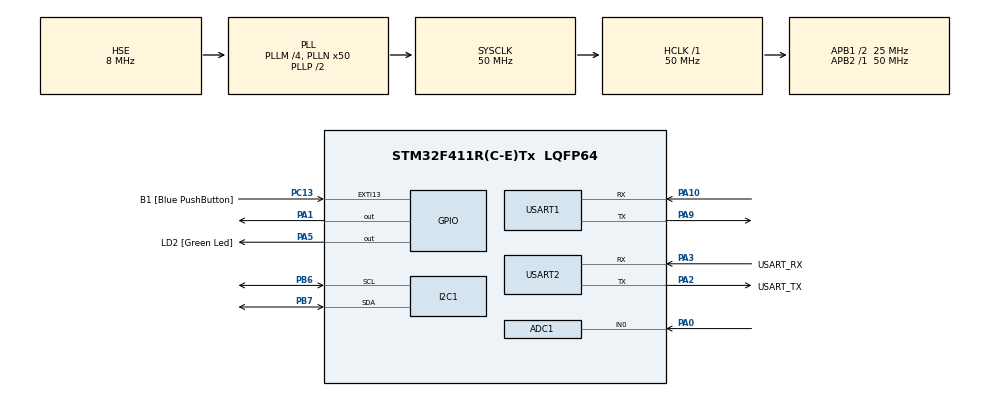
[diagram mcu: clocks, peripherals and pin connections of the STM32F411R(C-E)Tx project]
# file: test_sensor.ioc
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ADC1.Channel-0\#ChannelRegularConversion=ADC_CHANNEL_0
ADC1.ContinuousConvMode=ENABLE
ADC1.NbrOfConversionFlag=1
ADC1.Rank-0\#ChannelRegularConversion=1
ADC1.SamplingTime-0\#ChannelRegularConversion=ADC_SAMPLETIME_3CYCLES
ADC1.master=1
Mcu.Family=STM32F4
Mcu.Name=STM32F411R(C-E)Tx
Mcu.Package=LQFP64
NVIC.PriorityGroup=NVIC_PRIORITYGROUP_0
NVIC.USART1_IRQn=true\:0\:0\:false\:false\:true\:true\:true\:true
PA0-WKUP.Signal=ADCx_IN0
PA1.Signal=GPIO_Output
PA10.Mode=Asynchronous
PA10.Signal=USART1_RX
PA13.GPIO_Label=TMS
PA13.Mode=Serial_Wire
PA13.Signal=SYS_JTMS-SWDIO
PA14.GPIO_Label=TCK
PA14.Mode=Serial_Wire
PA14.Signal=SYS_JTCK-SWCLK
PA2.GPIO_Label=USART_TX
PA2.Mode=Asynchronous
PA2.Signal=USART2_TX
PA3.GPIO_Label=USART_RX
PA3.Mode=Asynchronous
PA3.Signal=USART2_RX
PA5.GPIO_Label=LD2 [Green Led]
PA5.Signal=GPIO_Output
PA9.Mode=Asynchronous
PA9.Signal=USART1_TX
PB3.GPIO_Label=SWO
PB3.Signal=SYS_JTDO-SWO
PB6.Mode=I2C
PB6.Signal=I2C1_SCL
PB7.Mode=I2C
PB7.Signal=I2C1_SDA
PC13-ANTI_TAMP.GPIO_Label=B1 [Blue PushButton]
PC13-ANTI_TAMP.GPIO_ModeDefaultEXTI=GPIO_MODE_IT_FALLING
PC13-ANTI_TAMP.Signal=GPXTI13
PC14-OSC32_IN.Signal=RCC_OSC32_IN
PC15-OSC32_OUT.Signal=RCC_OSC32_OUT
PH0\ -\ OSC_IN.Mode=HSE-External-Oscillator
PH0\ -\ OSC_IN.Signal=RCC_OSC_IN
PH1\ -\ OSC_OUT.Mode=HSE-External-Oscillator
PH1\ -\ OSC_OUT.Signal=RCC_OSC_OUT
ProjectManager.HeapSize=0x200
ProjectManager.StackSize=0x400
ProjectManager.TargetToolchain=STM32CubeIDE
RCC.48MHZClocksFreq_Value=25000000
RCC.AHBFreq_Value=50000000
RCC.APB1CLKDivider=RCC_HCLK_DIV2
RCC.APB1Freq_Value=25000000
RCC.APB1TimFreq_Value=50000000
RCC.APB2Freq_Value=50000000
RCC.APB2TimFreq_Value=50000000
RCC.CortexFreq_Value=50000000
RCC.FLatency-AdvancedSettings=FLASH_LATENCY_1
RCC.HCLKFreq_Value=50000000
RCC.HSE_VALUE=8000000
RCC.HSI_VALUE=16000000
RCC.LSE_VALUE=32768
RCC.PLLM=4
RCC.PLLN=50
RCC.PLLSourceVirtual=RCC_PLLSOURCE_HSE
RCC.SYSCLKFreq_VALUE=50000000
RCC.SYSCLKSource=RCC_SYSCLKSOURCE_PLLCLK
RCC.VCOOutputFreq_Value=100000000
SH.ADCx_IN0.0=ADC1_IN0,IN0
TIM1.Prescaler=50-1
USART1.VirtualMode=VM_ASYNC
USART2.VirtualMode=VM_ASYNC
VP_TIM1_VS_ClockSourceINT.Mode=Internal
board=NUCLEO-F411RE

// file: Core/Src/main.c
/* USER CODE BEGIN Header */
/**
  ******************************************************************************
  * @file           : main.c
  * @brief          : Main program body
  ******************************************************************************
  * @attention
  *
  * Copyright (c) 2023 STMicroelectronics.
  * All rights reserved.
  *
  * This software is licensed under terms that can be found in the LICENSE file
  * in the root directory of this software component.
  * If no LICENSE file comes with this software, it is provided AS-IS.
  *
  ******************************************************************************
  */
/* USER CODE END Header */
#include "main.h"

/* USER CODE BEGIN Includes */
#include "DHT.h"
#include "bh1750.h"
/* USER CODE END Includes */

ADC_HandleTypeDef hadc1;

I2C_HandleTypeDef hi2c1;

TIM_HandleTypeDef htim1;

UART_HandleTypeDef huart1;
UART_HandleTypeDef huart2;

void SystemClock_Config(void);
static void MX_GPIO_Init(void);
static void MX_USART2_UART_Init(void);
static void MX_TIM1_Init(void);
static void MX_I2C1_Init(void);
static void MX_ADC1_Init(void);
static void MX_USART1_UART_Init(void);

/* USER CODE BEGIN 0 */
DHT_DataTypedef DHT11_Data;
uint16_t Temperature, Humidity;
BH1750_device_t* LightSensor;

int t,m,l;

char send_temp[30];
void Read_Temperature(){
	DHT_GetData(&DHT11_Data);

    Temperature = DHT11_Data.Temperature;
    Humidity = DHT11_Data.Humidity;
    sprintf(send_temp, "Temperature = %u C\r\n", Temperature);
    HAL_UART_Transmit(&huart2, (uint8_t*)send_temp, strlen(send_temp), HAL_MAX_DELAY);

    char Humid[30];
    sprintf(Humid, "Humidity = %u %% \r\n", Humidity);
    HAL_UART_Transmit(&huart2, (uint8_t*)Humid, strlen(Humid), HAL_MAX_DELAY);

    t= Temperature;
}

char send_Light[50];

void Read_Light(){
	LightSensor->poll(LightSensor);
	uint16_t lux = LightSensor->value;
	float light = ((float)lux/10000)*100;
	if (light > 100){
		light = 100;
	}
	sprintf(send_Light, "Light Value: %.2f %%\r\n", light);
	HAL_UART_Transmit(&huart2, (uint8_t*)send_Light, strlen(send_Light), HAL_MAX_DELAY);

	l=light;
}

char send_Moisture[30];

void Read_Moisture(){
	float moisture;
	HAL_ADC_Start(&hadc1);
	HAL_ADC_PollForConversion(&hadc1,1000);
	moisture = HAL_ADC_GetValue(&hadc1);
	moisture = ((moisture - 3200) / (1300 - 3200)) * 100;
	if (moisture > 100){
		moisture = 100;
	}else if (moisture < 0){ moisture = 0;}
	sprintf(send_Moisture, "Moisture = %.2f %%\r\n\n", moisture);
	HAL_UART_Transmit(&huart2, (uint8_t*)send_Moisture, strlen(send_Moisture), HAL_MAX_DELAY);

	m=moisture;
}

void Read_Sensor(){
	Read_Temperature();
	Read_Light();
	Read_Moisture();
}

//int temperature, moiture, light;
uint8_t text;
void HAL_UART_RxCpltCallback(UART_HandleTypeDef *huart) {
    if (huart->Instance == USART1) {
    	HAL_UART_Transmit(&huart2, "start\n\r", sizeof("start\n\r"), 1000);
          HAL_UART_Transmit(&huart1, &t, sizeof(t), 1000);
          HAL_UART_Transmit(&huart1, &m, sizeof(m), 1000);
          HAL_UART_Transmit(&huart1, &l, sizeof(l), 1000);
          HAL_UART_Receive_IT(&huart1, &text, 1);
    }
}

/* USER CODE END 0 */

int main(void)
{

  /* MCU Configuration--------------------------------------------------------*/

  /* Reset of all peripherals, Initializes the Flash interface and the Systick. */
  HAL_Init();

  /* Configure the system clock */
  SystemClock_Config();

  /* Initialize all configured peripherals */
  MX_GPIO_Init();
  MX_USART2_UART_Init();
  MX_TIM1_Init();
  MX_I2C1_Init();
  MX_ADC1_Init();
  MX_USART1_UART_Init();
  /* USER CODE BEGIN 2 */

  HAL_TIM_Base_Start(&htim1);
  UART_Start_Receive_IT(&huart1, &text, 1);

  /*-------Light-----------------------------------------------------------------------------------*/
  BH1750_init_i2c(&hi2c1);
  LightSensor = BH1750_init_dev_struct(&hi2c1, "LightSensor", true);
  BH1750_init_dev(LightSensor);
  /* USER CODE END 2 */

  /* Infinite loop */
  /* USER CODE BEGIN WHILE */
  while (1)
  {
	  /*------Temperature & Humidity-------------------------------------------------------------------*/
	  HAL_GPIO_TogglePin(GPIOA, LD2_Pin);
	  Read_Sensor();
	  HAL_Delay(1000);
    /* USER CODE END WHILE */

  }
}

void SystemClock_Config(void)
{
  RCC_OscInitTypeDef RCC_OscInitStruct = {0};
  RCC_ClkInitTypeDef RCC_ClkInitStruct = {0};

  /** Configure the main internal regulator output voltage
  */
  __HAL_RCC_PWR_CLK_ENABLE();
  __HAL_PWR_VOLTAGESCALING_CONFIG(PWR_REGULATOR_VOLTAGE_SCALE1);

  /** Initializes the RCC Oscillators according to the specified parameters
  * in the RCC_OscInitTypeDef structure.
  */
  RCC_OscInitStruct.OscillatorType = RCC_OSCILLATORTYPE_HSE;
  RCC_OscInitStruct.HSEState = RCC_HSE_ON;
  RCC_OscInitStruct.PLL.PLLState = RCC_PLL_ON;
  RCC_OscInitStruct.PLL.PLLSource = RCC_PLLSOURCE_HSE;
  RCC_OscInitStruct.PLL.PLLM = 4;
  RCC_OscInitStruct.PLL.PLLN = 50;
  RCC_OscInitStruct.PLL.PLLP = RCC_PLLP_DIV2;
  RCC_OscInitStruct.PLL.PLLQ = 4;
  if (HAL_RCC_OscConfig(&RCC_OscInitStruct) != HAL_OK)
  {
    Error_Handler();
  }

  /** Initializes the CPU, AHB and APB buses clocks
  */
  RCC_ClkInitStruct.ClockType = RCC_CLOCKTYPE_HCLK|RCC_CLOCKTYPE_SYSCLK
                              |RCC_CLOCKTYPE_PCLK1|RCC_CLOCKTYPE_PCLK2;
  RCC_ClkInitStruct.SYSCLKSource = RCC_SYSCLKSOURCE_PLLCLK;
  RCC_ClkInitStruct.AHBCLKDivider = RCC_SYSCLK_DIV1;
  RCC_ClkInitStruct.APB1CLKDivider = RCC_HCLK_DIV2;
  RCC_ClkInitStruct.APB2CLKDivider = RCC_HCLK_DIV1;

  if (HAL_RCC_ClockConfig(&RCC_ClkInitStruct, FLASH_LATENCY_1) != HAL_OK)
  {
    Error_Handler();
  }
}

static void MX_ADC1_Init(void)
{

  ADC_ChannelConfTypeDef sConfig = {0};

  /** Configure the global features of the ADC (Clock, Resolution, Data Alignment and number of conversion)
  */
  hadc1.Instance = ADC1;
  hadc1.Init.ClockPrescaler = ADC_CLOCK_SYNC_PCLK_DIV2;
  hadc1.Init.Resolution = ADC_RESOLUTION_12B;
  hadc1.Init.ScanConvMode = DISABLE;
  hadc1.Init.ContinuousConvMode = ENABLE;
  hadc1.Init.DiscontinuousConvMode = DISABLE;
  hadc1.Init.ExternalTrigConvEdge = ADC_EXTERNALTRIGCONVEDGE_NONE;
  hadc1.Init.ExternalTrigConv = ADC_SOFTWARE_START;
  hadc1.Init.DataAlign = ADC_DATAALIGN_RIGHT;
  hadc1.Init.NbrOfConversion = 1;
  hadc1.Init.DMAContinuousRequests = DISABLE;
  hadc1.Init.EOCSelection = ADC_EOC_SINGLE_CONV;
  if (HAL_ADC_Init(&hadc1) != HAL_OK)
  {
    Error_Handler();
  }

  /** Configure for the selected ADC regular channel its corresponding rank in the sequencer and its sample time.
  */
  sConfig.Channel = ADC_CHANNEL_0;
  sConfig.Rank = 1;
  sConfig.SamplingTime = ADC_SAMPLETIME_3CYCLES;
  if (HAL_ADC_ConfigChannel(&hadc1, &sConfig) != HAL_OK)
  {
    Error_Handler();
  }

}

static void MX_I2C1_Init(void)
{

  hi2c1.Instance = I2C1;
  hi2c1.Init.ClockSpeed = 100000;
  hi2c1.Init.DutyCycle = I2C_DUTYCYCLE_2;
  hi2c1.Init.OwnAddress1 = 0;
  hi2c1.Init.AddressingMode = I2C_ADDRESSINGMODE_7BIT;
  hi2c1.Init.DualAddressMode = I2C_DUALADDRESS_DISABLE;
  hi2c1.Init.OwnAddress2 = 0;
  hi2c1.Init.GeneralCallMode = I2C_GENERALCALL_DISABLE;
  hi2c1.Init.NoStretchMode = I2C_NOSTRETCH_DISABLE;
  if (HAL_I2C_Init(&hi2c1) != HAL_OK)
  {
    Error_Handler();
  }

}

static void MX_TIM1_Init(void)
{

  TIM_ClockConfigTypeDef sClockSourceConfig = {0};
  TIM_MasterConfigTypeDef sMasterConfig = {0};

  htim1.Instance = TIM1;
  htim1.Init.Prescaler = 50-1;
  htim1.Init.CounterMode = TIM_COUNTERMODE_UP;
  htim1.Init.Period = 65535;
  htim1.Init.ClockDivision = TIM_CLOCKDIVISION_DIV1;
  htim1.Init.RepetitionCounter = 0;
  htim1.Init.AutoReloadPreload = TIM_AUTORELOAD_PRELOAD_DISABLE;
  if (HAL_TIM_Base_Init(&htim1) != HAL_OK)
  {
    Error_Handler();
  }
  sClockSourceConfig.ClockSource = TIM_CLOCKSOURCE_INTERNAL;
  if (HAL_TIM_ConfigClockSource(&htim1, &sClockSourceConfig) != HAL_OK)
  {
    Error_Handler();
  }
  sMasterConfig.MasterOutputTrigger = TIM_TRGO_RESET;
  sMasterConfig.MasterSlaveMode = TIM_MASTERSLAVEMODE_DISABLE;
  if (HAL_TIMEx_MasterConfigSynchronization(&htim1, &sMasterConfig) != HAL_OK)
  {
    Error_Handler();
  }

}

static void MX_USART1_UART_Init(void)
{

  huart1.Instance = USART1;
  huart1.Init.BaudRate = 9600;
  huart1.Init.WordLength = UART_WORDLENGTH_8B;
  huart1.Init.StopBits = UART_STOPBITS_1;
  huart1.Init.Parity = UART_PARITY_NONE;
  huart1.Init.Mode = UART_MODE_TX_RX;
  huart1.Init.HwFlowCtl = UART_HWCONTROL_NONE;
  huart1.Init.OverSampling = UART_OVERSAMPLING_16;
  if (HAL_UART_Init(&huart1) != HAL_OK)
  {
    Error_Handler();
  }

}

static void MX_USART2_UART_Init(void)
{

  huart2.Instance = USART2;
  huart2.Init.BaudRate = 115200;
  huart2.Init.WordLength = UART_WORDLENGTH_8B;
  huart2.Init.StopBits = UART_STOPBITS_1;
  huart2.Init.Parity = UART_PARITY_NONE;
  huart2.Init.Mode = UART_MODE_TX_RX;
  huart2.Init.HwFlowCtl = UART_HWCONTROL_NONE;
  huart2.Init.OverSampling = UART_OVERSAMPLING_16;
  if (HAL_UART_Init(&huart2) != HAL_OK)
  {
    Error_Handler();
  }

}

static void MX_GPIO_Init(void)
{
  GPIO_InitTypeDef GPIO_InitStruct = {0};

  /* GPIO Ports Clock Enable */
  __HAL_RCC_GPIOC_CLK_ENABLE();
  __HAL_RCC_GPIOH_CLK_ENABLE();
  __HAL_RCC_GPIOA_CLK_ENABLE();
  __HAL_RCC_GPIOB_CLK_ENABLE();

  /*Configure GPIO pin Output Level */
  HAL_GPIO_WritePin(GPIOA, GPIO_PIN_1|LD2_Pin, GPIO_PIN_RESET);

  /*Configure GPIO pin : B1_Pin */
  GPIO_InitStruct.Pin = B1_Pin;
  GPIO_InitStruct.Mode = GPIO_MODE_IT_FALLING;
  GPIO_InitStruct.Pull = GPIO_NOPULL;
  HAL_GPIO_Init(B1_GPIO_Port, &GPIO_InitStruct);

  /*Configure GPIO pins : PA1 LD2_Pin */
  GPIO_InitStruct.Pin = GPIO_PIN_1|LD2_Pin;
  GPIO_InitStruct.Mode = GPIO_MODE_OUTPUT_PP;
  GPIO_InitStruct.Pull = GPIO_NOPULL;
  GPIO_InitStruct.Speed = GPIO_SPEED_FREQ_LOW;
  HAL_GPIO_Init(GPIOA, &GPIO_InitStruct);

}

void Error_Handler(void)
{
  __disable_irq();
  while (1)
  {
  }
}
